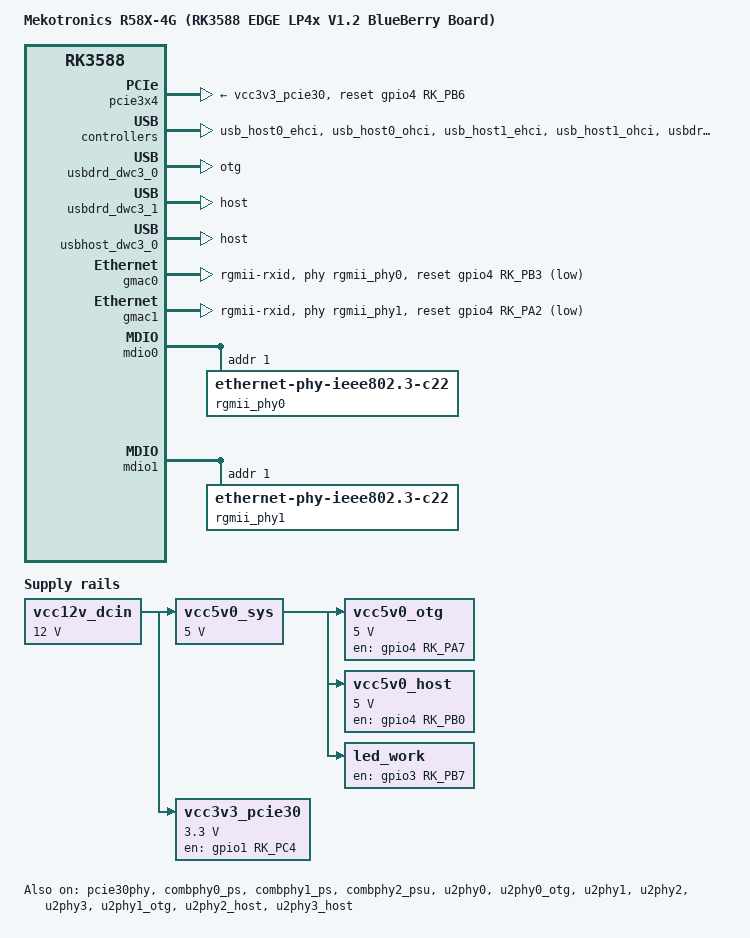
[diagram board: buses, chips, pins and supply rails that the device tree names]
// SPDX-License-Identifier: (GPL-2.0+ OR MIT)
/*
 * Copyright (c) 2021 Rockchip Electronics Co., Ltd
 *
 */

/dts-v1/;
#include "rk3588.dtsi"
#include "rk3588-u-boot.dtsi"
#include <dt-bindings/input/input.h>

/ {
	model = "Mekotronics R58X-4G (RK3588 EDGE LP4x V1.2 BlueBerry Board)";
	compatible = "rockchip,rk3588-blueberry-edge-v12-linux", "rockchip,rk3588";

	vcc12v_dcin: vcc12v-dcin {
		u-boot,dm-pre-reloc;
		compatible = "regulator-fixed";
		regulator-name = "vcc12v_dcin";
		regulator-always-on;
		regulator-boot-on;
		regulator-min-microvolt = <12000000>;
		regulator-max-microvolt = <12000000>;
	};

	vcc5v0_sys: vcc5v0-sys {
		u-boot,dm-pre-reloc;
		compatible = "regulator-fixed";
		regulator-name = "vcc5v0_sys";
		regulator-always-on;
		regulator-boot-on;
		regulator-min-microvolt = <5000000>;
		regulator-max-microvolt = <5000000>;
		vin-supply = <&vcc12v_dcin>;
	};

	vcc5v0_otg: vcc5v0-otg-regulator {
		u-boot,dm-pre-reloc;
		compatible = "regulator-fixed";
		regulator-name = "vcc5v0_otg";
		regulator-min-microvolt = <5000000>;
		regulator-max-microvolt = <5000000>;
		regulator-boot-on;
		regulator-always-on;
		enable-active-high;
		gpio = <&gpio4 RK_PA7 GPIO_ACTIVE_HIGH>;
		pinctrl-names = "default";
		pinctrl-0 = <&vcc5v0_otg_en>;
		vin-supply = <&vcc5v0_sys>;
	};

	vcc5v0_host: vcc5v0-host-regulator {
		u-boot,dm-pre-reloc;
		compatible = "regulator-fixed";
		regulator-name = "vcc5v0_host";
		regulator-boot-on;
		regulator-always-on;
		regulator-min-microvolt = <5000000>;
		regulator-max-microvolt = <5000000>;
		enable-active-high;
		gpio = <&gpio4 RK_PB0 GPIO_ACTIVE_HIGH>;
		pinctrl-names = "default";
		pinctrl-0 = <&vcc5v0_host_en>;
		vin-supply = <&vcc5v0_sys>;
	};

	vcc3v3_pcie30: vcc3v3-pcie30 {
		u-boot,dm-pre-reloc;
		compatible = "regulator-fixed";
		regulator-name = "vcc3v3_pcie30";
		regulator-min-microvolt = <3300000>;
		regulator-max-microvolt = <3300000>;
		enable-active-high;
		gpio = <&gpio1 RK_PC4 GPIO_ACTIVE_HIGH>;    //hugsun gpio1_c4
		regulator-boot-on;
		regulator-always-on;
		startup-delay-us = <10000>;
		vin-supply = <&vcc12v_dcin>;
		pinctrl-names = "default";
		pinctrl-0 = <&vcc3v3_pcie30_en>;		
	};

	/* work led is actually blue "PWR" LED and the powerbutton backlight LED */
	led_work: led_work {
		u-boot,dm-pre-reloc;
		compatible = "regulator-fixed";
		regulator-name = "led_work";
		enable-active-high;
		gpio = <&gpio3 RK_PB7 GPIO_ACTIVE_HIGH>; // Turn on work led
		regulator-boot-on;
		regulator-always-on;
		vin-supply = <&vcc5v0_sys>;
	};
};

&pcie3x4 {
	u-boot,dm-pre-reloc;
	vpcie3v3-supply = <&vcc3v3_pcie30>;
	reset-gpios = <&gpio4 RK_PB6 GPIO_ACTIVE_HIGH>;
	status = "okay";
};

&pcie30phy {
	/* rockchip,pcie30-phymode = <PHY_MODE_PCIE_AGGREGATION>; */
	u-boot,dm-pre-reloc;
	status = "okay";
};

&combphy0_ps {
	u-boot,dm-pre-reloc;
	status = "okay";
};

&combphy1_ps {
	u-boot,dm-pre-reloc;
	status = "okay";
};

&combphy2_psu {
	u-boot,dm-pre-reloc;
	status = "okay";
};

//type-c0
&u2phy0 {
	u-boot,dm-pre-reloc;
	status = "okay";
};

&u2phy0_otg {
	u-boot,dm-pre-reloc;
	rockchip,typec-vbus-det;
	status = "okay";
};

&u2phy1 {
	u-boot,dm-pre-reloc;
	status = "okay";
};

//usb2.0 host0
&u2phy2 {
	u-boot,dm-pre-reloc;
	status = "okay";
};

//usb2.0 host1
&u2phy3 {
	u-boot,dm-pre-reloc;
	status = "okay";
};

&u2phy1_otg {
	u-boot,dm-pre-reloc;
	phy-supply = <&vcc5v0_host>;
	status = "okay";
};

&u2phy2_host {
	u-boot,dm-pre-reloc;
	phy-supply = <&vcc5v0_host>;
	status = "okay";
};

&u2phy3_host {
	u-boot,dm-pre-reloc;
	phy-supply = <&vcc5v0_host>;
	status = "okay";
};

&usb_host0_ehci {
	u-boot,dm-pre-reloc;
	status = "okay";
};

&usb_host0_ohci {
	u-boot,dm-pre-reloc;
	status = "okay";
};

&usb_host1_ehci {
	u-boot,dm-pre-reloc;
	status = "okay";
};

&usb_host1_ohci {
	u-boot,dm-pre-reloc;
	status = "okay";
};


&usbdrd3_0 {
	status = "okay";
	u-boot,dm-pre-reloc;
};

&usbdrd3_1 {
	status = "okay";
	u-boot,dm-pre-reloc;
};

&usbdrd_dwc3_0 {
	dr_mode = "otg";
	usb-role-switch;
	status = "okay";
	u-boot,dm-pre-reloc;
};

&usbdrd_dwc3_1 {
	dr_mode = "host";
	maximum-speed = "high-speed";
	status = "okay";
	u-boot,dm-pre-reloc;
};

&usbhost3_0 {
	status = "okay";
	u-boot,dm-pre-reloc;
};

&usbhost_dwc3_0 {
	dr_mode = "host";
	status = "okay";
	u-boot,dm-pre-reloc;
};

&pinctrl {
	usb {
		u-boot,dm-pre-reloc;
		vcc5v0_host_en: vcc5v0-host-en {
			u-boot,dm-pre-reloc;
			rockchip,pins = <4 RK_PB0 RK_FUNC_GPIO &pcfg_pull_none>;
		};

	};

	usb-typec {
		u-boot,dm-pre-reloc;
		
		usbc0_int: usbc0-int {
			u-boot,dm-pre-reloc;
			rockchip,pins = <3 RK_PC7 RK_FUNC_GPIO &pcfg_pull_up>;
		};

		vcc5v0_otg_en: vcc5v0-otg-en {
			u-boot,dm-pre-reloc;
			rockchip,pins = <4 RK_PA7 RK_FUNC_GPIO &pcfg_pull_none>;
		};
	};

	pcie {
		u-boot,dm-spl;
		vcc3v3_pcie30_en: vcc3v3-pcie30-en {
			u-boot,dm-spl;
			rockchip,pins = <1 RK_PC4 RK_FUNC_GPIO &pcfg_pull_up>;
		};	
	
	};
};




/* Wild try for ether */
&gmac0 {
	/* Use rgmii-rxid mode to disable rx delay inside Soc */
	phy-mode = "rgmii-rxid";
	clock_in_out = "output";

	snps,reset-gpio = <&gpio4 RK_PB3 GPIO_ACTIVE_LOW>;
	snps,reset-active-low;
	/* Reset time is 20ms, 100ms for rtl8211f */
	snps,reset-delays-us = <0 20000 100000>;

	pinctrl-names = "default";
	pinctrl-0 = <&gmac0_miim
		     &gmac0_tx_bus2
		     &gmac0_rx_bus2
		     &gmac0_rgmii_clk
		     &gmac0_rgmii_bus>;

	tx_delay = <0x44>;
	/* rx_delay = <0x4f>; */

	phy-handle = <&rgmii_phy0>;
	status = "okay";
};

&gmac1 {
	/* Use rgmii-rxid mode to disable rx delay inside Soc */
	phy-mode = "rgmii-rxid";
	clock_in_out = "output";

	snps,reset-gpio = <&gpio4 RK_PA2 GPIO_ACTIVE_LOW>;
	snps,reset-active-low;
	/* Reset time is 20ms, 100ms for rtl8211f */
	snps,reset-delays-us = <0 20000 100000>;

	pinctrl-names = "default";
	pinctrl-0 = <&gmac1_miim
		     &gmac1_tx_bus2
		     &gmac1_rx_bus2
		     &gmac1_rgmii_clk
		     &gmac1_rgmii_bus>;

	tx_delay = <0x42>;
	/* rx_delay = <0x4f>; */

	phy-handle = <&rgmii_phy1>;
	status = "okay";
};

&mdio0 {
	rgmii_phy0: phy@1 {
		compatible = "ethernet-phy-ieee802.3-c22";
		reg = <0x1>;
	};
};

&mdio1 {
	rgmii_phy1: phy@1 {
		compatible = "ethernet-phy-ieee802.3-c22";
		reg = <0x1>;
	};
};

/* Others, disabled */

/*
&pcie2x1l0 {
	reset-gpios = <&gpio1 RK_PB4 GPIO_ACTIVE_HIGH>;
	rockchip,skip-scan-in-resume;
	status = "okay";
};

&sata0 {
	status = "okay";
};
*/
